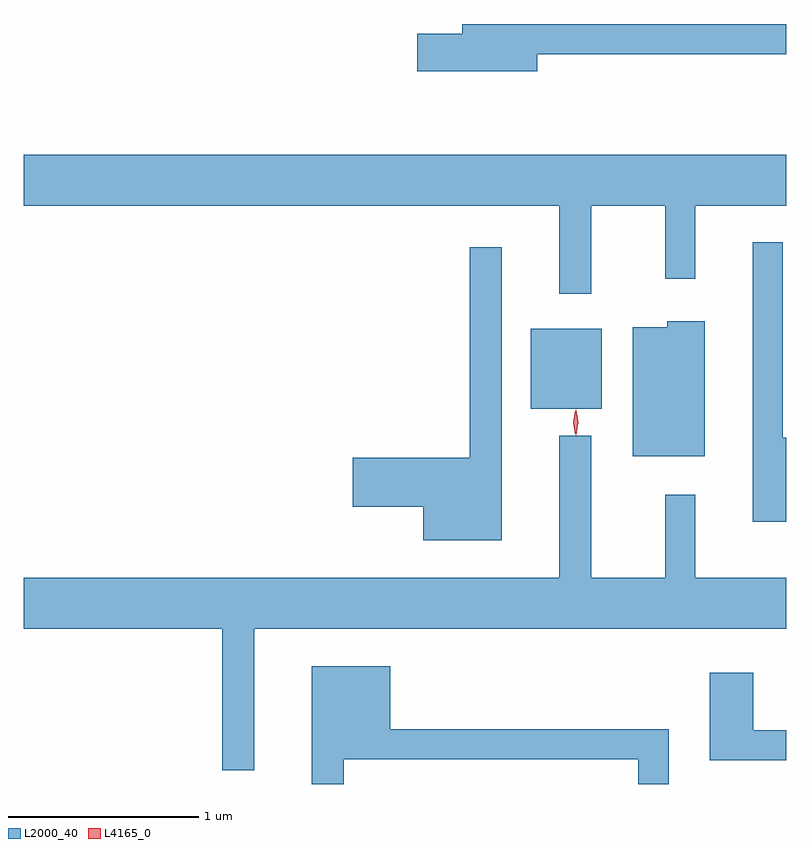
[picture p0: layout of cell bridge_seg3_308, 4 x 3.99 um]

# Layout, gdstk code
import gdstk
lib = gdstk.Library(unit=1e-6, precision=1e-09)
def R(c, l, rs):  # rectangles x0, y0, x1, y1
    for r in rs: c.add(gdstk.rectangle(r[:2], r[2:], *l))
def P(c, l, *ps):  # polygons
    for p in ps: c.add(gdstk.Polygon(p, *l))
L2000_40 = (2000, 40)
L4165_0 = (4165, 0)

bridge_seg3_308 = lib.new_cell('bridge_seg3_308')
R(bridge_seg3_308, L2000_40, [(564.401,1213.751,564.774,1214.169)])
P(bridge_seg3_308, L2000_40, [(564.434,1215.611),(565.741,1215.611),(565.741,1215.769),(564.041,1215.769),(564.041,1215.719),(563.806,1215.719),(563.806,1215.521),(564.434,1215.521)],
  [(564.719,1214.816),(565.106,1214.816),(565.106,1214.433),(565.264,1214.433),(565.264,1214.816),(565.741,1214.816),(565.741,1215.084),(561.741,1215.084),(561.741,1214.816),(564.551,1214.816),(564.551,1214.353),(564.719,1214.353)],
  [(565.741,1213.599),(565.724,1213.599),(565.724,1214.623),(565.566,1214.623),(565.566,1213.156),(565.741,1213.156)],
  [(564.249,1214.598),(564.081,1214.598),(564.081,1213.494),(563.466,1213.494),(563.466,1213.236),(563.836,1213.236),(563.836,1213.061),(564.249,1213.061)],
  [(565.314,1214.209),(565.116,1214.209),(565.116,1214.179),(564.936,1214.179),(564.936,1213.501),(565.314,1213.501)],
  [(562.949,1212.596),(565.741,1212.596),(565.741,1212.864),(565.264,1212.864),(565.264,1213.298),(565.106,1213.298),(565.106,1212.864),(564.719,1212.864),(564.719,1213.608),(564.551,1213.608),(564.551,1212.864),(561.741,1212.864),(561.741,1212.596),(562.781,1212.596),(562.781,1211.853),(562.949,1211.853)],
  [(563.419,1211.911),(564.966,1211.911),(564.966,1211.781),(565.124,1211.781),(565.124,1212.069),(563.664,1212.069),(563.664,1212.399),(563.251,1212.399),(563.251,1211.781),(563.419,1211.781)],
  [(565.741,1212.064),(565.569,1212.064),(565.569,1212.364),(565.341,1212.364),(565.341,1211.906),(565.741,1211.906)])
P(bridge_seg3_308, L4165_0, [(564.634,1213.613),(564.634,1213.613),(564.624,1213.677),(564.634,1213.741),(564.634,1213.742),(564.635,1213.741),(564.644,1213.677),(564.635,1213.613)],
  [(564.639,1213.61),(564.63,1213.678),(564.639,1213.746),(564.64,1213.746),(564.64,1213.746),(564.65,1213.678),(564.64,1213.61),(564.64,1213.61)])

lib.write_gds('bridge_seg3_308.gds')
